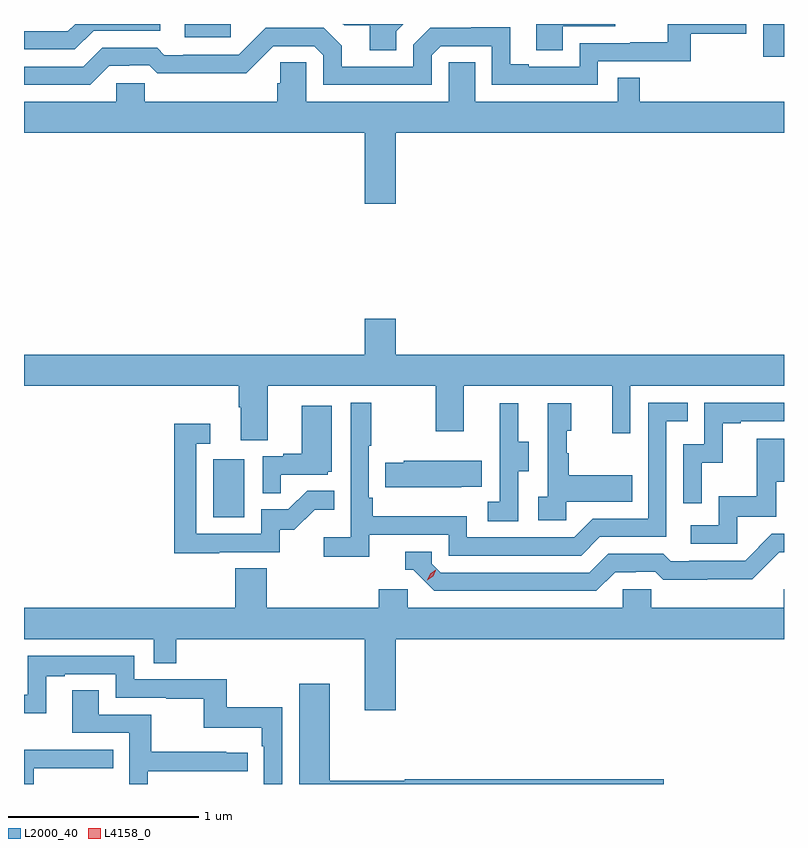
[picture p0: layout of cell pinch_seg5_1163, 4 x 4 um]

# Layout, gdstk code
import gdstk
lib = gdstk.Library(unit=1e-6, precision=1e-09)
def R(c, l, rs):  # rectangles x0, y0, x1, y1
    for r in rs: c.add(gdstk.rectangle(r[:2], r[2:], *l))
def P(c, l, *ps):  # polygons
    for p in ps: c.add(gdstk.Polygon(p, *l))
L2000_40 = (2000, 40)
L4158_0 = (4158, 0)

pinch_seg5_1163 = lib.new_cell('pinch_seg5_1163')
R(pinch_seg5_1163, L2000_40, [(823.55,850.74,823.714,851.047), (826.445,853.164,826.555,853.337), (823.401,853.266,823.644,853.337)])
P(pinch_seg5_1163, L2000_40, [(822.922,853.302),(823.272,853.302),(823.272,853.337),(822.824,853.337),(822.786,853.299),(822.555,853.299),(822.555,853.203),(822.823,853.203)],
  [(825.391,853.326),(825.668,853.326),(825.668,853.337),(825.251,853.337),(825.251,853.198),(825.391,853.198)],
  [(823.003,853.116),(823.11,853.116),(823.11,853.119),(823.213,853.119),(823.255,853.077),(823.488,853.077),(823.488,853.079),(823.724,853.079),(823.866,853.221),(824.082,853.221),(824.13,853.173),(824.13,853.017),(824.7,853.017),(824.7,853.173),(824.748,853.221),(825.018,853.221),(825.018,853.017),(825.576,853.017),(825.576,853.14),(826.063,853.14),(826.063,853.287),(826.356,853.287),(826.356,853.337),(825.942,853.337),(825.942,853.241),(825.745,853.241),(825.745,853.236),(825.48,853.236),(825.48,853.113),(825.211,853.113),(825.211,853.126),(825.115,853.126),(825.115,853.319),(824.91,853.319),(824.91,853.317),(824.694,853.317),(824.604,853.227),(824.604,853.113),(824.227,853.113),(824.227,853.223),(824.133,853.317),(823.827,853.317),(823.686,853.176),(823.393,853.176),(823.393,853.173),(823.294,853.173),(823.255,853.212),(822.966,853.212),(822.867,853.113),(822.555,853.113),(822.555,853.017),(822.904,853.017)],
  [(824.515,853.3),(824.552,853.337),(824.233,853.337),(824.24,853.33),(824.375,853.33),(824.375,853.198),(824.515,853.198)],
  [(824.512,852.764),(826.555,852.764),(826.555,852.928),(825.797,852.928),(825.797,853.055),(825.681,853.055),(825.681,852.928),(824.929,852.928),(824.929,853.136),(824.79,853.136),(824.79,852.928),(824.04,852.928),(824.04,853.136),(823.903,853.136),(823.903,853.026),(823.889,853.026),(823.889,852.928),(823.191,852.928),(823.191,853.026),(823.041,853.026),(823.041,852.928),(822.555,852.928),(822.555,852.764),(824.348,852.764),(824.348,852.39),(824.512,852.39)],
  [(823.837,851.432),(824.722,851.432),(824.722,851.193),(824.869,851.193),(824.869,851.432),(825.65,851.432),(825.65,851.184),(825.747,851.184),(825.747,851.432),(826.555,851.432),(826.555,851.596),(824.512,851.596),(824.512,851.785),(824.348,851.785),(824.348,851.596),(822.555,851.596),(822.555,851.432),(823.685,851.432),(823.685,851.32),(823.697,851.32),(823.697,851.146),(823.837,851.146)],
  [(824.372,850.65),(824.79,850.65),(824.79,850.539),(825.487,850.539),(825.586,850.638),(825.936,850.638),(825.936,851.247),(826.049,851.247),(826.049,851.343),(825.84,851.343),(825.84,850.734),(825.549,850.734),(825.45,850.635),(824.886,850.635),(824.886,850.747),(824.39,850.747),(824.39,850.843),(824.37,850.843),(824.37,851.116),(824.383,851.116),(824.383,851.344),(824.274,851.344),(824.274,850.636),(824.133,850.636),(824.133,850.534),(824.372,850.534)],
  [(826.122,851.027),(826.232,851.027),(826.232,851.235),(826.327,851.235),(826.327,851.247),(826.555,851.247),(826.555,851.343),(826.134,851.343),(826.134,851.124),(826.026,851.124),(826.026,850.815),(826.122,850.815)],
  [(825.156,850.984),(825.211,850.984),(825.211,851.139),(825.157,851.139),(825.157,851.341),(825.059,851.341),(825.059,851.127),(825.06,851.127),(825.06,850.823),(824.997,850.823),(824.997,850.72),(825.156,850.72)],
  [(825.408,850.823),(825.755,850.823),(825.755,850.963),(825.421,850.963),(825.421,851.078),(825.411,851.078),(825.411,851.196),(825.436,851.196),(825.436,851.341),(825.312,851.341),(825.312,850.85),(825.261,850.85),(825.261,850.725),(825.408,850.725)],
  [(823.907,850.965),(824.154,850.965),(824.154,850.98),(824.176,850.98),(824.176,851.329),(824.018,851.329),(824.018,851.074),(823.919,851.074),(823.919,851.061),(823.812,851.061),(823.812,850.867),(823.907,850.867)],
  [(823.583,850.557),(823.902,850.557),(823.902,850.674),(823.978,850.674),(824.085,850.781),(824.189,850.781),(824.189,850.88),(824.045,850.88),(823.947,850.782),(823.803,850.782),(823.803,850.653),(823.461,850.653),(823.461,851.127),(823.534,851.127),(823.534,851.233),(823.345,851.233),(823.345,850.552),(823.583,850.552)],
  [(826.308,850.743),(826.513,850.743),(826.513,850.929),(826.555,850.929),(826.555,851.155),(826.411,851.155),(826.411,850.852),(826.212,850.852),(826.212,850.698),(826.065,850.698),(826.065,850.602),(826.308,850.602)],
  [(824.855,850.901),(824.963,850.901),(824.963,851.038),(824.553,851.038),(824.553,851.028),(824.455,851.028),(824.455,850.898),(824.855,850.898)],
  [(825.667,850.452),(825.774,850.452),(825.774,850.455),(825.877,850.455),(825.919,850.413),(826.152,850.413),(826.152,850.415),(826.388,850.415),(826.53,850.557),(826.555,850.557),(826.555,850.653),(826.491,850.653),(826.35,850.512),(826.057,850.512),(826.057,850.509),(825.958,850.509),(825.919,850.548),(825.63,850.548),(825.531,850.449),(824.748,850.449),(824.7,850.497),(824.7,850.56),(824.561,850.56),(824.561,850.464),(824.604,850.464),(824.715,850.353),(825.568,850.353)],
  [(826.555,850.362),(826.553,850.362),(826.553,850.264),(825.855,850.264),(825.855,850.362),(825.705,850.362),(825.705,850.264),(824.574,850.264),(824.574,850.362),(824.423,850.362),(824.423,850.264),(823.832,850.264),(823.832,850.472),(823.667,850.472),(823.667,850.264),(822.555,850.264),(822.555,850.1),(823.239,850.1),(823.239,849.973),(823.355,849.973),(823.355,850.1),(824.348,850.1),(824.348,849.726),(824.512,849.726),(824.512,850.1),(826.555,850.1)],
  [(823.914,849.742),(823.621,849.742),(823.621,849.888),(823.134,849.888),(823.134,850.011),(822.576,850.011),(822.576,849.807),(822.555,849.807),(822.555,849.71),(822.673,849.71),(822.673,849.903),(822.769,849.903),(822.769,849.915),(823.038,849.915),(823.038,849.792),(823.303,849.792),(823.303,849.787),(823.5,849.787),(823.5,849.632),(823.805,849.632),(823.805,849.536),(823.818,849.536),(823.818,849.337),(823.914,849.337)],
  [(825.922,849.362),(824.56,849.362),(824.56,849.355),(824.164,849.355),(824.164,849.865),(824.003,849.865),(824.003,849.337),(825.922,849.337)],
  [(823.206,849.405),(823.732,849.405),(823.732,849.501),(823.619,849.501),(823.619,849.506),(823.226,849.506),(823.226,849.702),(822.949,849.702),(822.949,849.83),(822.809,849.83),(822.809,849.606),(823.11,849.606),(823.11,849.337),(823.206,849.337)],
  [(822.606,849.42),(823.025,849.42),(823.025,849.516),(822.555,849.516),(822.555,849.337),(822.606,849.337)])
P(pinch_seg5_1163, L4158_0, [(824.678,850.41),(824.678,850.41),(824.693,850.443),(824.723,850.464),(824.723,850.464),(824.723,850.463),(824.708,850.43),(824.678,850.41)])

lib.write_gds('pinch_seg5_1163.gds')
